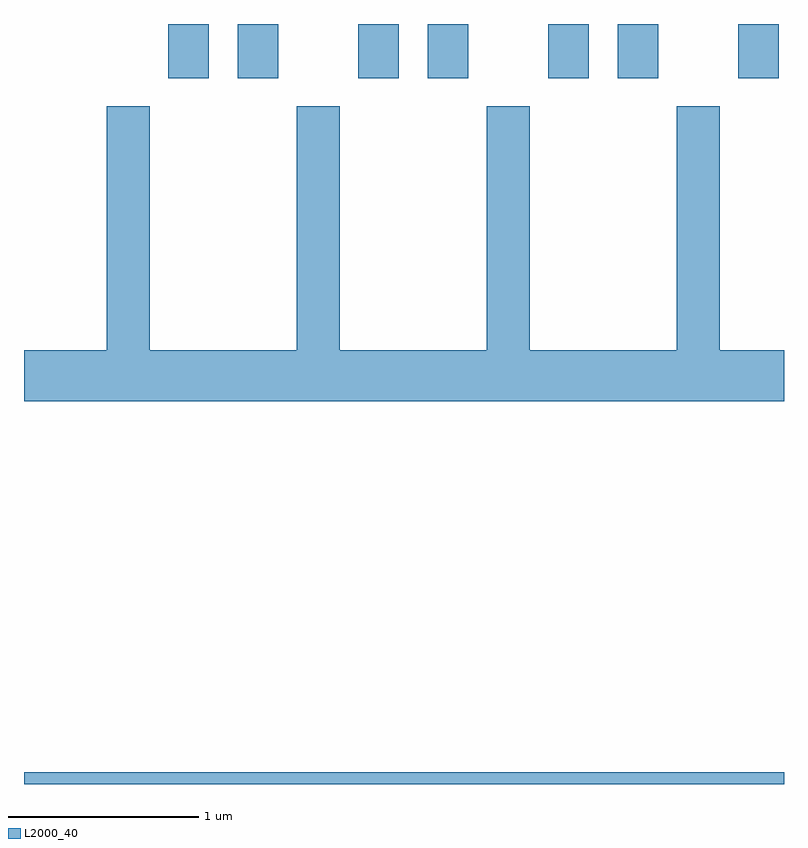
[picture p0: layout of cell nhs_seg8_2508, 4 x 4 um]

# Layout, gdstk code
import gdstk
lib = gdstk.Library(unit=1e-6, precision=1e-09)
def R(c, l, rs):  # rectangles x0, y0, x1, y1
    for r in rs: c.add(gdstk.rectangle(r[:2], r[2:], *l))
def P(c, l, *ps):  # polygons
    for p in ps: c.add(gdstk.Polygon(p, *l))
L2000_40 = (2000, 40)

nhs_seg8_2508 = lib.new_cell('nhs_seg8_2508')
R(nhs_seg8_2508, L2000_40, [(259.611,1894.342,263.611,1894.404), (260.371,1898.056,260.584,1898.342), (260.736,1898.056,260.949,1898.342), (261.371,1898.056,261.584,1898.342), (261.736,1898.056,261.949,1898.342), (262.371,1898.056,262.584,1898.342), (262.736,1898.056,262.949,1898.342), (263.371,1898.056,263.584,1898.342)])
P(nhs_seg8_2508, L2000_40, [(263.046,1897.909),(263.046,1896.624),(262.274,1896.624),(262.274,1897.909),(262.046,1897.909),(262.046,1896.624),(261.274,1896.624),(261.274,1897.909),(261.046,1897.909),(261.046,1896.624),(260.274,1896.624),(260.274,1897.909),(260.046,1897.909),(260.046,1896.624),(259.611,1896.624),(259.611,1896.356),(263.611,1896.356),(263.611,1896.624),(263.274,1896.624),(263.274,1897.909)])

lib.write_gds('nhs_seg8_2508.gds')
